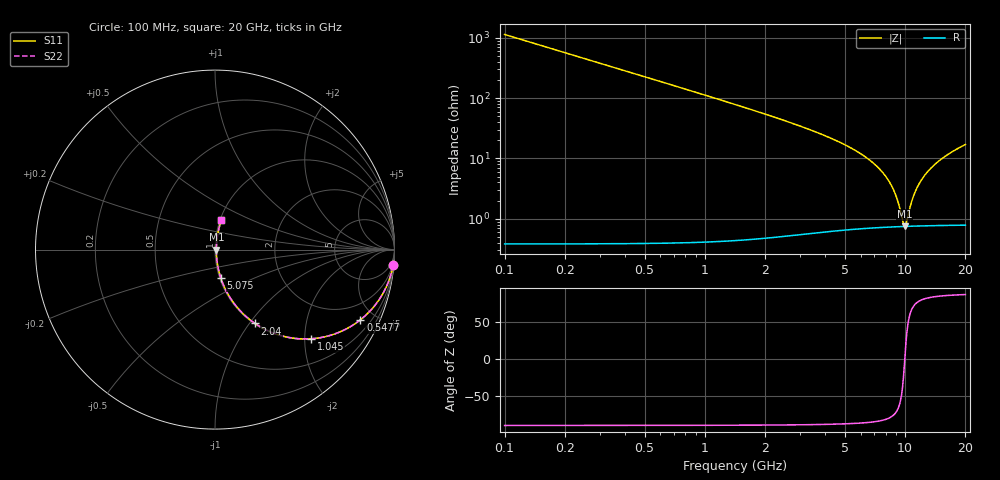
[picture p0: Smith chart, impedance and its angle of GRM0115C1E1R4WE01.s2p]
!Murata Part Number: GRM0115C1E1R4WE01
!These Parameters are Measured in Series Mode Connection
!Data Generated on Mar 30, 2021
!  o--ll--o
!Port1  Port2
!  o------o
!Operation Temp=25[degC], DC Bias Voltage=0[V]
!Freq. Start=100[MHz] Stop=20[GHz] 401[Steps]
# Hz S RI R 50
!Freq.(Hz) S11(Real) S11(Imag) S21(Real) S21(Imag) S12(Real) S12(Imag) S22(Real) S22(Imag)
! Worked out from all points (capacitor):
!   401 points, 100 MHz to 20 GHz, reference 50 ohm
!   read as one part in series: C = 1.4 pF near 199.5 MHz
!   lowest |Z| = 748 mohm at 9.95 GHz (marker M1)
!   series resonance near 9.964 GHz, so ESL is about 180 pH
!   S11 on the Smith chart (normalised r, x): 100 MHz: 1, -23; 547.8 MHz: 1.01, -4.14; 1.045 GHz: 1.01, -2.15; 2.04 GHz: 1.01, -1.06; 5.075 GHz: 1.01, -0.33; 20 GHz: 1.02, +0.34
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1e8  0.9923 -0.0873  0.00771 0.0873  0.00771 0.0873  0.9923 -0.0873
2.99e8  0.935 -0.2461  0.065 0.2461  0.065 0.2461  0.935 -0.2461
5.4775e8  0.8101 -0.3913  0.1899 0.3913  0.1899 0.3913  0.8101 -0.3913
7.965e8  0.6672 -0.4698  0.3328 0.4698  0.3328 0.4698  0.6672 -0.4698
1.04525e9  0.5358 -0.4968  0.4642 0.4968  0.4642 0.4968  0.5358 -0.4968
1.493e9  0.3566 -0.476  0.6434 0.476  0.6434 0.476  0.3566 -0.476
2.04025e9  0.2229 -0.4117  0.7771 0.4117  0.7771 0.4117  0.2229 -0.4117
3.43325e9  0.0821 -0.2649  0.9179 0.2649  0.9179 0.2649  0.0821 -0.2649
5.075e9  0.0324 -0.1582  0.9676 0.1582  0.9676 0.1582  0.0324 -0.1582
6.7665e9  0.0148 -0.0878  0.9852 0.0878  0.9852 0.0878  0.0148 -0.0878
7.81125e9  0.0102 -0.0546  0.9898 0.0546  0.9898 0.0546  0.0102 -0.0546
8.60725e9  0.00835 -0.0327  0.9916 0.0327  0.9916 0.0327  0.00835 -0.0327
9.1545e9  0.0077 -0.0189  0.9923 0.0189  0.9923 0.0189  0.0077 -0.0189
9.7515e9  0.00742 -0.0048  0.9926 0.0048  0.9926 0.0048  0.00742 -0.0048
9.9505e9  0.00742 -0.000304  0.9926 0.000304  0.9926 0.000304  0.00742 -0.000304
1.005e10  0.00743 0.00191  0.9926 -0.00191  0.9926 -0.00191  0.00743 0.00191
1.07465e10  0.00777 0.0168  0.9922 -0.0168  0.9922 -0.0168  0.00777 0.0168
1.13435e10  0.00836 0.0289  0.9916 -0.0289  0.9916 -0.0289  0.00836 0.0289
1.2239e10  0.0097 0.0459  0.9903 -0.0459  0.9903 -0.0459  0.0097 0.0459
1.338325e10  0.0121 0.0662  0.9879 -0.0662  0.9879 -0.0662  0.0121 0.0662
1.67165e10  0.0221 0.1184  0.9779 -0.1184  0.9779 -0.1184  0.0221 0.1184
2e10  0.0353 0.1629  0.9647 -0.1629  0.9647 -0.1629  0.0353 0.1629
